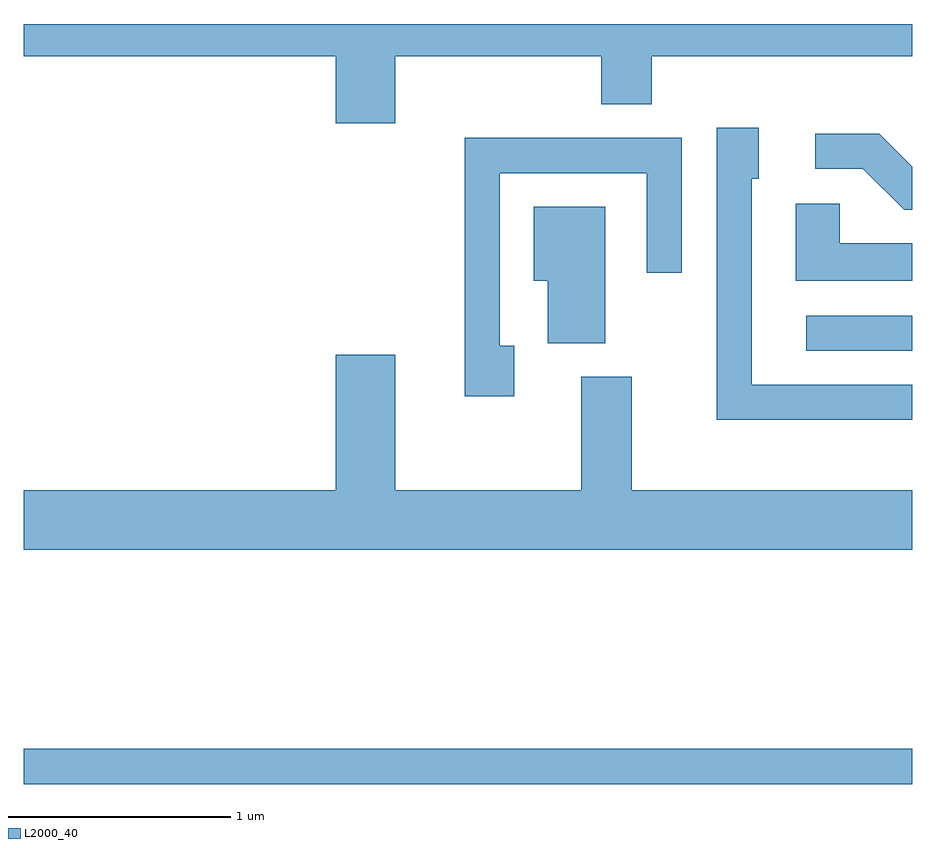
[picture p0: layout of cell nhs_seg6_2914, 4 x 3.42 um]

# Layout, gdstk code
import gdstk
lib = gdstk.Library(unit=1e-6, precision=1e-09)
def R(c, l, rs):  # rectangles x0, y0, x1, y1
    for r in rs: c.add(gdstk.rectangle(r[:2], r[2:], *l))
def P(c, l, *ps):  # polygons
    for p in ps: c.add(gdstk.Polygon(p, *l))
L2000_40 = (2000, 40)

nhs_seg6_2914 = lib.new_cell('nhs_seg6_2914')
R(nhs_seg6_2914, L2000_40, [(273.611,1566.741,277.611,1566.899), (277.133,1568.691,277.611,1568.849)])
P(nhs_seg6_2914, L2000_40, [(275.284,1570.016),(276.211,1570.016),(276.211,1569.801),(276.439,1569.801),(276.439,1570.016),(277.611,1570.016),(277.611,1570.162),(273.611,1570.162),(273.611,1570.016),(275.016,1570.016),(275.016,1569.716),(275.284,1569.716)],
  [(277.611,1568.539),(276.889,1568.539),(276.889,1569.466),(276.919,1569.466),(276.919,1569.694),(276.731,1569.694),(276.731,1568.381),(277.611,1568.381)],
  [(277.611,1569.52),(277.462,1569.669),(277.173,1569.669),(277.173,1569.511),(277.389,1569.511),(277.574,1569.326),(277.611,1569.326)],
  [(275.819,1568.714),(275.754,1568.714),(275.754,1569.491),(276.416,1569.491),(276.416,1569.043),(276.574,1569.043),(276.574,1569.649),(275.596,1569.649),(275.596,1568.486),(275.819,1568.486)],
  [(277.611,1569.174),(277.284,1569.174),(277.284,1569.354),(277.086,1569.354),(277.086,1569.006),(277.611,1569.006)],
  [(276.229,1569.339),(275.906,1569.339),(275.906,1569.006),(275.971,1569.006),(275.971,1568.726),(276.229,1568.726)],
  [(277.611,1568.064),(276.349,1568.064),(276.349,1568.574),(276.121,1568.574),(276.121,1568.064),(275.284,1568.064),(275.284,1568.674),(275.016,1568.674),(275.016,1568.064),(273.611,1568.064),(273.611,1567.796),(277.611,1567.796)])

lib.write_gds('nhs_seg6_2914.gds')
